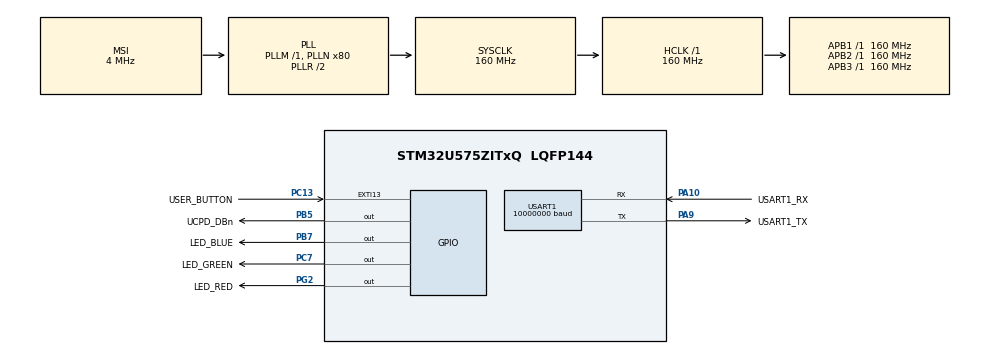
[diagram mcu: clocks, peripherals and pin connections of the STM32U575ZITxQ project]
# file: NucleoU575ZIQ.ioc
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CORTEX_M33_NS.userName=CORTEX_M33
GPDMA1.DESTINC_GPDMACH12=DMA_DINC_INCREMENTED
GPDMA1.IPHANDLE_GPDMACH12-SIMPLEREQUEST_GPDMACH12=__NULL
GPDMA1.REQUEST_GPDMACH12=GPDMA1_REQUEST_USART1_RX
Mcu.Family=STM32U5
Mcu.Name=STM32U575ZITxQ
Mcu.Package=LQFP144
NVIC.GPDMA1_Channel12_IRQn=true\:0\:0\:false\:false\:true\:false\:true\:true
NVIC.PriorityGroup=NVIC_PRIORITYGROUP_3
NVIC.USART1_IRQn=true\:0\:0\:false\:false\:true\:true\:true\:true
PA10.GPIO_Label=USART1_RX
PA10.GPIO_PuPd=GPIO_PULLDOWN
PA10.GPIO_Speed=GPIO_SPEED_FREQ_VERY_HIGH
PA10.Mode=Asynchronous
PA10.Signal=USART1_RX
PA13\ (JTMS/SWDIO).Mode=Trace_Asynchronous_SW
PA13\ (JTMS/SWDIO).Signal=DEBUG_JTMS-SWDIO
PA14\ (JTCK/SWCLK).Mode=Trace_Asynchronous_SW
PA14\ (JTCK/SWCLK).Signal=DEBUG_JTCK-SWCLK
PA9.GPIO_Label=USART1_TX
PA9.GPIO_PuPd=GPIO_PULLDOWN
PA9.GPIO_Speed=GPIO_SPEED_FREQ_VERY_HIGH
PA9.Mode=Asynchronous
PA9.Signal=USART1_TX
PB3\ (JTDO/TRACESWO).Mode=Trace_Asynchronous_SW
PB3\ (JTDO/TRACESWO).Signal=DEBUG_JTDO-SWO
PB5.GPIO_Label=UCPD_DBn
PB5.Signal=GPIO_Output
PB7.GPIO_Label=LED_BLUE
PB7.GPIO_ModeDefaultOutputPP=GPIO_MODE_OUTPUT_PP
PB7.GPIO_PuPd=GPIO_PULLUP
PB7.GPIO_Speed=GPIO_SPEED_FREQ_HIGH
PB7.Signal=GPIO_Output
PC13.GPIO_Label=USER_BUTTON
PC13.GPIO_ModeDefaultEXTI=GPIO_MODE_IT_FALLING
PC13.Signal=GPXTI13
PC14-OSC32_IN\ (PC14).Mode=LSE-External-Oscillator
PC14-OSC32_IN\ (PC14).Signal=RCC_OSC32_IN
PC15-OSC32_OUT\ (PC15).Mode=LSE-External-Oscillator
PC15-OSC32_OUT\ (PC15).Signal=RCC_OSC32_OUT
PC7.GPIO_Label=LED_GREEN
PC7.GPIO_PuPd=GPIO_PULLUP
PC7.GPIO_Speed=GPIO_SPEED_FREQ_HIGH
PC7.Signal=GPIO_Output
PG2.GPIO_Label=LED_RED
PG2.GPIO_ModeDefaultOutputPP=GPIO_MODE_OUTPUT_PP
PG2.GPIO_PuPd=GPIO_PULLUP
PG2.GPIO_Speed=GPIO_SPEED_FREQ_HIGH
PG2.Signal=GPIO_Output
PWR.PowerMode=PWR_SMPS_SUPPLY
ProjectManager.HeapSize=0x200
ProjectManager.StackSize=0x400
ProjectManager.TargetToolchain=Makefile
RCC.ADCFreq_Value=16000000
RCC.AHBFreq_Value=160000000
RCC.APB1Freq_Value=160000000
RCC.APB1TimFreq_Value=160000000
RCC.APB2Freq_Value=160000000
RCC.APB2TimFreq_Value=160000000
RCC.APB3Freq_Value=160000000
RCC.CortexFreq_Value=160000000
RCC.DACCLockSelectionVirtual=RCC_DAC1CLKSOURCE_LSI
RCC.EPOD_VALUE=4000000
RCC.HCLKFreq_Value=160000000
RCC.HSE_VALUE=16000000
RCC.HSI48_VALUE=48000000
RCC.HSI_VALUE=16000000
RCC.LSIDIV_VALUE=32000
RCC.MSI_VALUE=4000000
RCC.PLLN=80
RCC.SYSCLKFreq_VALUE=160000000
RCC.SYSCLKSource=RCC_SYSCLKSOURCE_PLLCLK
RCC.USBFreq_Value=48000000
RCC.VCOOutputFreq_Value=320000000
USART1.BaudRate=10000000
USART1.VirtualMode-Asynchronous=VM_ASYNC
VP_DCACHE1_VS_DCACHE.Mode=DCACHE_Activate
VP_GPDMA1_VS_GPDMACH12.Mode=SIMPLEREQUEST_GPDMACH12
VP_ICACHE_VS_ENABLE_ICACHE_MEMORY.Mode=Memoryregions
VP_ICACHE_VS_ICACHE.Mode=DirectMappedCache
VP_LPBAMQUEUE_VS_QUEUE.Mode=QUEUEMODE
VP_LPBAM_VS_SIG1.Mode=SmartRun
VP_LPBAM_VS_SIG4.Mode=LPDMA1
VP_MEMORYMAP_VS_MEMORYMAP.Mode=CurAppReg
VP_PWR_VS_DBSignals.Mode=DisableDeadBatterySignals
VP_PWR_VS_LPOM.Mode=PowerOptimisation
VP_PWR_VS_SECSignals.Mode=Security/Privilege
board=NUCLEO-U575ZI-Q

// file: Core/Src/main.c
/* USER CODE BEGIN Header */
/**
  ******************************************************************************
  * @file           : main.c
  * @brief          : Main program body
  ******************************************************************************
  * @attention
  *
  * Copyright (c) 2024 STMicroelectronics.
  * All rights reserved.
  *
  * This software is licensed under terms that can be found in the LICENSE file
  * in the root directory of this software component.
  * If no LICENSE file comes with this software, it is provided AS-IS.
  *
  ******************************************************************************
  */
/* USER CODE END Header */
#include "main.h"

/* USER CODE BEGIN Includes */
#include <stdint.h>
#include <stdio.h>

#include "NeuralNetwork.h"
/* USER CODE END Includes */

/* USER CODE BEGIN PD */
#define MAX_READ_SIZE 16384 // Absolute max is 65535 due to HAL_UART_Receive_DMA size being uint16_t
/* USER CODE END PD */

DCACHE_HandleTypeDef hdcache1;

UART_HandleTypeDef huart1;
DMA_HandleTypeDef handle_GPDMA1_Channel12;

/* USER CODE BEGIN PV */
static char receive_buff[MAX_READ_SIZE] = {'\0'};                //Define the receive array
volatile uint16_t receive_buff_cnt = 0;
static char send_msg[32] = "READY\r\n";
/* USER CODE END PV */

void SystemClock_Config(void);
static void SystemPower_Config(void);
static void MX_GPIO_Init(void);
static void MX_GPDMA1_Init(void);
static void MX_ICACHE_Init(void);
static void MX_USART1_UART_Init(void);
static void MX_DCACHE1_Init(void);

/* USER CODE BEGIN 0 */
void RxEventCallback(UART_HandleTypeDef *huart, uint16_t Pos) {
  if(huart->Instance == USART1) { //Determine whether it is serial port 2
    uint16_t max_read = MAX_READ_SIZE - receive_buff_cnt;

    //Calculate the length of the received data
    //uint16_t data_length  = max_read - __HAL_DMA_GET_COUNTER(&hdma_usart2_rx);
    uint16_t data_length = Pos;

    receive_buff_cnt += data_length;

    if (receive_buff[receive_buff_cnt - 1] != '\n') {
      max_read -= data_length;
      //Restart to start DMA transmission of MAX_READ_SIZE bytes of data at a time
      HAL_UARTEx_ReceiveToIdle_DMA(&huart1, (uint8_t*)(receive_buff + receive_buff_cnt), max_read);
    }
  }
}

/**
  * @brief  Function called to read the current micro second
  * @param  None
  * @retval None
  */
uint32_t getCurrentMicros(void)
{
  uint32_t m0 = HAL_GetTick();
  __IO uint32_t u0 = SysTick->VAL;
  uint32_t m1 = HAL_GetTick();
  __IO uint32_t u1 = SysTick->VAL;
  const uint32_t tms = SysTick->LOAD + 1;

  if (m1 != m0) {
    return (m1 * 1000 + ((tms - u1) * 1000) / tms);
  } else {
    return (m0 * 1000 + ((tms - u0) * 1000) / tms);
  }
}
/* USER CODE END 0 */

int main(void)
{

  /* MCU Configuration--------------------------------------------------------*/

  /* Reset of all peripherals, Initializes the Flash interface and the Systick. */
  HAL_Init();

  /* Configure the system clock */
  SystemClock_Config();

  /* Configure the System Power */
  SystemPower_Config();

  /* Initialize all configured peripherals */
  MX_GPIO_Init();
  MX_GPDMA1_Init();
  MX_ICACHE_Init();
  MX_USART1_UART_Init();
  MX_DCACHE1_Init();
  /* USER CODE BEGIN 2 */
  HAL_UART_RegisterRxEventCallback(&huart1, RxEventCallback);
  HAL_UARTEx_ReceiveToIdle_DMA(&huart1, (uint8_t*)receive_buff, MAX_READ_SIZE);
  HAL_UART_Transmit(&huart1, (unsigned char *)send_msg, 7, 0x200); // Send READY
  /* USER CODE END 2 */

  /* Infinite loop */
  /* USER CODE BEGIN WHILE */
  while (1)
  {
    if (receive_buff_cnt > 0 && receive_buff[receive_buff_cnt - 1] == '\n') {
      float *inputs = serialBufToFloats(receive_buff, receive_buff_cnt);
      size_t len = snprintf(send_msg, 32, "%d\r\n", receive_buff_cnt);
      receive_buff_cnt = 0;
      HAL_UARTEx_ReceiveToIdle_DMA(&huart1, (uint8_t*)receive_buff, MAX_READ_SIZE);

      HAL_UART_Transmit(&huart1, (unsigned char *)send_msg, len, 0x200);

      uint32_t start = getCurrentMicros();
      struct NNResult res = neuralNetworkInfer(inputs);
      uint32_t stop = getCurrentMicros();

      len = snprintf(send_msg, 32, "%d,%d,%f,%lu\r\n", res.inference_count, res.label, (double)res.dist, stop - start);
      HAL_UART_Transmit(&huart1, (unsigned char *)send_msg, len, 0x200);
    }
    /* USER CODE END WHILE */

  }
}

void SystemClock_Config(void)
{
  RCC_OscInitTypeDef RCC_OscInitStruct = {0};
  RCC_ClkInitTypeDef RCC_ClkInitStruct = {0};

  /** Configure the main internal regulator output voltage
  */
  if (HAL_PWREx_ControlVoltageScaling(PWR_REGULATOR_VOLTAGE_SCALE1) != HAL_OK)
  {
    Error_Handler();
  }

  /** Initializes the CPU, AHB and APB buses clocks
  */
  RCC_OscInitStruct.OscillatorType = RCC_OSCILLATORTYPE_MSI;
  RCC_OscInitStruct.MSIState = RCC_MSI_ON;
  RCC_OscInitStruct.MSICalibrationValue = RCC_MSICALIBRATION_DEFAULT;
  RCC_OscInitStruct.MSIClockRange = RCC_MSIRANGE_4;
  RCC_OscInitStruct.PLL.PLLState = RCC_PLL_ON;
  RCC_OscInitStruct.PLL.PLLSource = RCC_PLLSOURCE_MSI;
  RCC_OscInitStruct.PLL.PLLMBOOST = RCC_PLLMBOOST_DIV1;
  RCC_OscInitStruct.PLL.PLLM = 1;
  RCC_OscInitStruct.PLL.PLLN = 80;
  RCC_OscInitStruct.PLL.PLLP = 2;
  RCC_OscInitStruct.PLL.PLLQ = 2;
  RCC_OscInitStruct.PLL.PLLR = 2;
  RCC_OscInitStruct.PLL.PLLRGE = RCC_PLLVCIRANGE_0;
  RCC_OscInitStruct.PLL.PLLFRACN = 0;
  if (HAL_RCC_OscConfig(&RCC_OscInitStruct) != HAL_OK)
  {
    Error_Handler();
  }

  /** Initializes the CPU, AHB and APB buses clocks
  */
  RCC_ClkInitStruct.ClockType = RCC_CLOCKTYPE_HCLK|RCC_CLOCKTYPE_SYSCLK
                              |RCC_CLOCKTYPE_PCLK1|RCC_CLOCKTYPE_PCLK2
                              |RCC_CLOCKTYPE_PCLK3;
  RCC_ClkInitStruct.SYSCLKSource = RCC_SYSCLKSOURCE_PLLCLK;
  RCC_ClkInitStruct.AHBCLKDivider = RCC_SYSCLK_DIV1;
  RCC_ClkInitStruct.APB1CLKDivider = RCC_HCLK_DIV1;
  RCC_ClkInitStruct.APB2CLKDivider = RCC_HCLK_DIV1;
  RCC_ClkInitStruct.APB3CLKDivider = RCC_HCLK_DIV1;

  if (HAL_RCC_ClockConfig(&RCC_ClkInitStruct, FLASH_LATENCY_4) != HAL_OK)
  {
    Error_Handler();
  }
}

/**
  * @brief Power Configuration
  * @retval None
  */
static void SystemPower_Config(void)
{
  HAL_PWREx_EnableVddIO2();

  /*
   * Disable the internal Pull-Up in Dead Battery pins of UCPD peripheral
   */
  HAL_PWREx_DisableUCPDDeadBattery();

  /*
   * Switch to SMPS regulator instead of LDO
   */
  if (HAL_PWREx_ConfigSupply(PWR_SMPS_SUPPLY) != HAL_OK)
  {
    Error_Handler();
  }
}

static void MX_DCACHE1_Init(void)
{

  hdcache1.Instance = DCACHE1;
  hdcache1.Init.ReadBurstType = DCACHE_READ_BURST_WRAP;
  if (HAL_DCACHE_Init(&hdcache1) != HAL_OK)
  {
    Error_Handler();
  }

}

static void MX_GPDMA1_Init(void)
{

  /* Peripheral clock enable */
  __HAL_RCC_GPDMA1_CLK_ENABLE();

  /* GPDMA1 interrupt Init */
    HAL_NVIC_SetPriority(GPDMA1_Channel12_IRQn, 0, 0);
    HAL_NVIC_EnableIRQ(GPDMA1_Channel12_IRQn);

}

static void MX_ICACHE_Init(void)
{

  /** Enable instruction cache in 1-way (direct mapped cache)
  */
  if (HAL_ICACHE_ConfigAssociativityMode(ICACHE_1WAY) != HAL_OK)
  {
    Error_Handler();
  }
  if (HAL_ICACHE_Enable() != HAL_OK)
  {
    Error_Handler();
  }

}

static void MX_USART1_UART_Init(void)
{

  huart1.Instance = USART1;
  huart1.Init.BaudRate = 10000000;
  huart1.Init.WordLength = UART_WORDLENGTH_8B;
  huart1.Init.StopBits = UART_STOPBITS_1;
  huart1.Init.Parity = UART_PARITY_NONE;
  huart1.Init.Mode = UART_MODE_TX_RX;
  huart1.Init.HwFlowCtl = UART_HWCONTROL_NONE;
  huart1.Init.OverSampling = UART_OVERSAMPLING_16;
  huart1.Init.OneBitSampling = UART_ONE_BIT_SAMPLE_DISABLE;
  huart1.Init.ClockPrescaler = UART_PRESCALER_DIV1;
  huart1.AdvancedInit.AdvFeatureInit = UART_ADVFEATURE_NO_INIT;
  if (HAL_UART_Init(&huart1) != HAL_OK)
  {
    Error_Handler();
  }
  if (HAL_UARTEx_SetTxFifoThreshold(&huart1, UART_TXFIFO_THRESHOLD_1_8) != HAL_OK)
  {
    Error_Handler();
  }
  if (HAL_UARTEx_SetRxFifoThreshold(&huart1, UART_RXFIFO_THRESHOLD_1_8) != HAL_OK)
  {
    Error_Handler();
  }
  if (HAL_UARTEx_DisableFifoMode(&huart1) != HAL_OK)
  {
    Error_Handler();
  }

}

static void MX_GPIO_Init(void)
{
  GPIO_InitTypeDef GPIO_InitStruct = {0};

  /* GPIO Ports Clock Enable */
  __HAL_RCC_GPIOC_CLK_ENABLE();
  __HAL_RCC_GPIOG_CLK_ENABLE();
  __HAL_RCC_GPIOA_CLK_ENABLE();
  __HAL_RCC_GPIOB_CLK_ENABLE();

  /*Configure GPIO pin Output Level */
  HAL_GPIO_WritePin(LED_RED_GPIO_Port, LED_RED_Pin, GPIO_PIN_RESET);

  /*Configure GPIO pin Output Level */
  HAL_GPIO_WritePin(LED_GREEN_GPIO_Port, LED_GREEN_Pin, GPIO_PIN_RESET);

  /*Configure GPIO pin Output Level */
  HAL_GPIO_WritePin(GPIOB, UCPD_DBn_Pin|LED_BLUE_Pin, GPIO_PIN_RESET);

  /*Configure GPIO pin : USER_BUTTON_Pin */
  GPIO_InitStruct.Pin = USER_BUTTON_Pin;
  GPIO_InitStruct.Mode = GPIO_MODE_IT_FALLING;
  GPIO_InitStruct.Pull = GPIO_NOPULL;
  HAL_GPIO_Init(USER_BUTTON_GPIO_Port, &GPIO_InitStruct);

  /*Configure GPIO pin : LED_RED_Pin */
  GPIO_InitStruct.Pin = LED_RED_Pin;
  GPIO_InitStruct.Mode = GPIO_MODE_OUTPUT_PP;
  GPIO_InitStruct.Pull = GPIO_PULLUP;
  GPIO_InitStruct.Speed = GPIO_SPEED_FREQ_HIGH;
  HAL_GPIO_Init(LED_RED_GPIO_Port, &GPIO_InitStruct);

  /*Configure GPIO pin : LED_GREEN_Pin */
  GPIO_InitStruct.Pin = LED_GREEN_Pin;
  GPIO_InitStruct.Mode = GPIO_MODE_OUTPUT_PP;
  GPIO_InitStruct.Pull = GPIO_PULLUP;
  GPIO_InitStruct.Speed = GPIO_SPEED_FREQ_HIGH;
  HAL_GPIO_Init(LED_GREEN_GPIO_Port, &GPIO_InitStruct);

  /*Configure GPIO pin : UCPD_DBn_Pin */
  GPIO_InitStruct.Pin = UCPD_DBn_Pin;
  GPIO_InitStruct.Mode = GPIO_MODE_OUTPUT_PP;
  GPIO_InitStruct.Pull = GPIO_NOPULL;
  GPIO_InitStruct.Speed = GPIO_SPEED_FREQ_LOW;
  HAL_GPIO_Init(UCPD_DBn_GPIO_Port, &GPIO_InitStruct);

  /*Configure GPIO pin : LED_BLUE_Pin */
  GPIO_InitStruct.Pin = LED_BLUE_Pin;
  GPIO_InitStruct.Mode = GPIO_MODE_OUTPUT_PP;
  GPIO_InitStruct.Pull = GPIO_PULLUP;
  GPIO_InitStruct.Speed = GPIO_SPEED_FREQ_HIGH;
  HAL_GPIO_Init(LED_BLUE_GPIO_Port, &GPIO_InitStruct);

}

void Error_Handler(void)
{
  __disable_irq();
  while (1)
  {
  }
}
